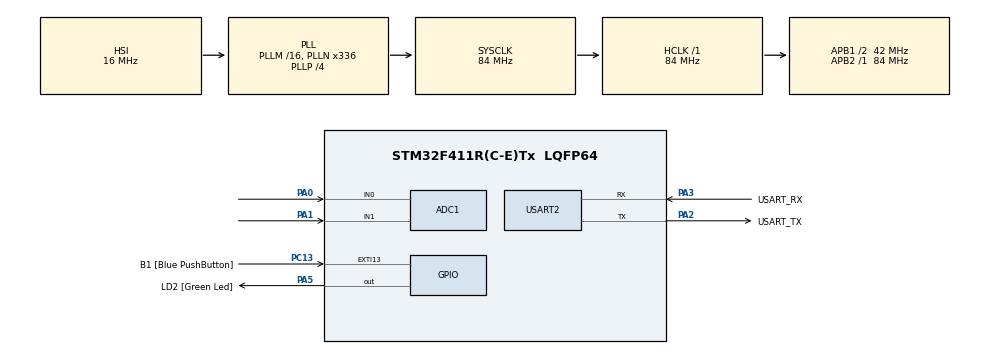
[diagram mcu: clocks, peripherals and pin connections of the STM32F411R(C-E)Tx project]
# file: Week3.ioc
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ADC1.Channel-0\#ChannelRegularConversion=ADC_CHANNEL_0
ADC1.NbrOfConversionFlag=1
ADC1.Rank-0\#ChannelRegularConversion=1
ADC1.SamplingTime-0\#ChannelRegularConversion=ADC_SAMPLETIME_3CYCLES
ADC1.master=1
Mcu.Family=STM32F4
Mcu.Name=STM32F411R(C-E)Tx
Mcu.Package=LQFP64
NVIC.PriorityGroup=NVIC_PRIORITYGROUP_0
PA0-WKUP.Signal=ADCx_IN0
PA1.Signal=ADCx_IN1
PA13.GPIO_Label=TMS
PA13.Mode=Serial_Wire
PA13.Signal=SYS_JTMS-SWDIO
PA14.GPIO_Label=TCK
PA14.Mode=Serial_Wire
PA14.Signal=SYS_JTCK-SWCLK
PA2.GPIO_Label=USART_TX
PA2.Mode=Asynchronous
PA2.Signal=USART2_TX
PA3.GPIO_Label=USART_RX
PA3.Mode=Asynchronous
PA3.Signal=USART2_RX
PA5.GPIO_Label=LD2 [Green Led]
PA5.Signal=GPIO_Output
PB3.GPIO_Label=SWO
PB3.Signal=SYS_JTDO-SWO
PC13-ANTI_TAMP.GPIO_Label=B1 [Blue PushButton]
PC13-ANTI_TAMP.GPIO_ModeDefaultEXTI=GPIO_MODE_IT_FALLING
PC13-ANTI_TAMP.Signal=GPXTI13
PC14-OSC32_IN.Mode=LSE-External-Oscillator
PC14-OSC32_IN.Signal=RCC_OSC32_IN
PC15-OSC32_OUT.Mode=LSE-External-Oscillator
PC15-OSC32_OUT.Signal=RCC_OSC32_OUT
PH0\ -\ OSC_IN.Mode=HSE-External-Clock-Source
PH0\ -\ OSC_IN.Signal=RCC_OSC_IN
PH1\ -\ OSC_OUT.Mode=HSE-External-Clock-Source
PH1\ -\ OSC_OUT.Signal=RCC_OSC_OUT
ProjectManager.HeapSize=0x200
ProjectManager.StackSize=0x400
ProjectManager.TargetToolchain=STM32CubeIDE
RCC.48MHZClocksFreq_Value=84000000
RCC.AHBFreq_Value=84000000
RCC.APB1CLKDivider=RCC_HCLK_DIV2
RCC.APB1Freq_Value=42000000
RCC.APB1TimFreq_Value=84000000
RCC.APB2Freq_Value=84000000
RCC.APB2TimFreq_Value=84000000
RCC.CortexFreq_Value=84000000
RCC.FLatency-AdvancedSettings=FLASH_LATENCY_2
RCC.HCLKFreq_Value=84000000
RCC.HSE_VALUE=8000000
RCC.HSI_VALUE=16000000
RCC.PLLN=336
RCC.PLLP=RCC_PLLP_DIV4
RCC.SYSCLKFreq_VALUE=84000000
RCC.SYSCLKSource=RCC_SYSCLKSOURCE_PLLCLK
RCC.VCOOutputFreq_Value=336000000
SH.ADCx_IN0.0=ADC1_IN0,IN0
SH.ADCx_IN1.0=ADC1_IN1,IN1
USART2.VirtualMode=VM_ASYNC
VP_ADC1_TempSens_Input.Mode=IN-TempSens
board=NUCLEO-F411RE

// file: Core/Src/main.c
/* USER CODE BEGIN Header */
/**
  ******************************************************************************
  * @file           : main.c
  * @brief          : Main program body
  ******************************************************************************
  * @attention
  *
  * <h2><center>&copy; Copyright (c) 2021 STMicroelectronics.
  * All rights reserved.</center></h2>
  *
  * This software component is licensed by ST under BSD 3-Clause license,
  * the "License"; You may not use this file except in compliance with the
  * License. You may obtain a copy of the License at:
  *                        opensource.org/licenses/BSD-3-Clause
  *
  ******************************************************************************
  */
/* USER CODE END Header */
#include "main.h"

ADC_HandleTypeDef hadc1;

UART_HandleTypeDef huart2;

/* USER CODE BEGIN PV */
typedef struct
{
	ADC_ChannelConfTypeDef	Config;
	uint32_t Data;
} ADCStructure;

ADCStructure ADCChannel[2] = { 0 };

int ADCMode = 0;
float ADCOutputConverted = 0;
int V25 = 760; //datasheet
float Avg_slope = 2.5;
float V_Ref = 3.3;
float resolution = 4096;

/* USER CODE END PV */

void SystemClock_Config(void);
static void MX_GPIO_Init(void);
static void MX_USART2_UART_Init(void);
static void MX_ADC1_Init(void);
/* USER CODE BEGIN PFP */
void ADCPollingMethod();
void ADCPollingMethodUpdate();
/* USER CODE END PFP */

int main(void)
{

  /* MCU Configuration--------------------------------------------------------*/

  /* Reset of all peripherals, Initializes the Flash interface and the Systick. */
  HAL_Init();

  /* Configure the system clock */
  SystemClock_Config();

  /* Initialize all configured peripherals */
  MX_GPIO_Init();
  MX_USART2_UART_Init();
  MX_ADC1_Init();
  /* USER CODE BEGIN 2 */
  ADCPollingMethod();
  /* USER CODE END 2 */

  /* Infinite loop */
  while (1)
  {

    /* USER CODE BEGIN 3 */
	ADCPollingMethodUpdate();
  }
  /* USER CODE END 3 */
}

void SystemClock_Config(void)
{
  RCC_OscInitTypeDef RCC_OscInitStruct = {0};
  RCC_ClkInitTypeDef RCC_ClkInitStruct = {0};

  /** Configure the main internal regulator output voltage
  */
  __HAL_RCC_PWR_CLK_ENABLE();
  __HAL_PWR_VOLTAGESCALING_CONFIG(PWR_REGULATOR_VOLTAGE_SCALE1);
  /** Initializes the RCC Oscillators according to the specified parameters
  * in the RCC_OscInitTypeDef structure.
  */
  RCC_OscInitStruct.OscillatorType = RCC_OSCILLATORTYPE_HSI;
  RCC_OscInitStruct.HSIState = RCC_HSI_ON;
  RCC_OscInitStruct.HSICalibrationValue = RCC_HSICALIBRATION_DEFAULT;
  RCC_OscInitStruct.PLL.PLLState = RCC_PLL_ON;
  RCC_OscInitStruct.PLL.PLLSource = RCC_PLLSOURCE_HSI;
  RCC_OscInitStruct.PLL.PLLM = 16;
  RCC_OscInitStruct.PLL.PLLN = 336;
  RCC_OscInitStruct.PLL.PLLP = RCC_PLLP_DIV4;
  RCC_OscInitStruct.PLL.PLLQ = 4;
  if (HAL_RCC_OscConfig(&RCC_OscInitStruct) != HAL_OK)
  {
    Error_Handler();
  }
  /** Initializes the CPU, AHB and APB buses clocks
  */
  RCC_ClkInitStruct.ClockType = RCC_CLOCKTYPE_HCLK|RCC_CLOCKTYPE_SYSCLK
                              |RCC_CLOCKTYPE_PCLK1|RCC_CLOCKTYPE_PCLK2;
  RCC_ClkInitStruct.SYSCLKSource = RCC_SYSCLKSOURCE_PLLCLK;
  RCC_ClkInitStruct.AHBCLKDivider = RCC_SYSCLK_DIV1;
  RCC_ClkInitStruct.APB1CLKDivider = RCC_HCLK_DIV2;
  RCC_ClkInitStruct.APB2CLKDivider = RCC_HCLK_DIV1;

  if (HAL_RCC_ClockConfig(&RCC_ClkInitStruct, FLASH_LATENCY_2) != HAL_OK)
  {
    Error_Handler();
  }
}

static void MX_ADC1_Init(void)
{

  ADC_ChannelConfTypeDef sConfig = {0};

  /** Configure the global features of the ADC (Clock, Resolution, Data Alignment and number of conversion)
  */
  hadc1.Instance = ADC1;
  hadc1.Init.ClockPrescaler = ADC_CLOCK_SYNC_PCLK_DIV4;
  hadc1.Init.Resolution = ADC_RESOLUTION_12B;
  hadc1.Init.ScanConvMode = DISABLE;
  hadc1.Init.ContinuousConvMode = DISABLE;
  hadc1.Init.DiscontinuousConvMode = DISABLE;
  hadc1.Init.ExternalTrigConvEdge = ADC_EXTERNALTRIGCONVEDGE_NONE;
  hadc1.Init.ExternalTrigConv = ADC_SOFTWARE_START;
  hadc1.Init.DataAlign = ADC_DATAALIGN_RIGHT;
  hadc1.Init.NbrOfConversion = 1;
  hadc1.Init.DMAContinuousRequests = DISABLE;
  hadc1.Init.EOCSelection = ADC_EOC_SINGLE_CONV;
  if (HAL_ADC_Init(&hadc1) != HAL_OK)
  {
    Error_Handler();
  }
  /** Configure for the selected ADC regular channel its corresponding rank in the sequencer and its sample time.
  */
  sConfig.Channel = ADC_CHANNEL_0;
  sConfig.Rank = 1;
  sConfig.SamplingTime = ADC_SAMPLETIME_3CYCLES;
  if (HAL_ADC_ConfigChannel(&hadc1, &sConfig) != HAL_OK)
  {
    Error_Handler();
  }

}

static void MX_USART2_UART_Init(void)
{

  huart2.Instance = USART2;
  huart2.Init.BaudRate = 115200;
  huart2.Init.WordLength = UART_WORDLENGTH_8B;
  huart2.Init.StopBits = UART_STOPBITS_1;
  huart2.Init.Parity = UART_PARITY_NONE;
  huart2.Init.Mode = UART_MODE_TX_RX;
  huart2.Init.HwFlowCtl = UART_HWCONTROL_NONE;
  huart2.Init.OverSampling = UART_OVERSAMPLING_16;
  if (HAL_UART_Init(&huart2) != HAL_OK)
  {
    Error_Handler();
  }

}

static void MX_GPIO_Init(void)
{
  GPIO_InitTypeDef GPIO_InitStruct = {0};

  /* GPIO Ports Clock Enable */
  __HAL_RCC_GPIOC_CLK_ENABLE();
  __HAL_RCC_GPIOH_CLK_ENABLE();
  __HAL_RCC_GPIOA_CLK_ENABLE();
  __HAL_RCC_GPIOB_CLK_ENABLE();

  /*Configure GPIO pin Output Level */
  HAL_GPIO_WritePin(LD2_GPIO_Port, LD2_Pin, GPIO_PIN_RESET);

  /*Configure GPIO pin : B1_Pin */
  GPIO_InitStruct.Pin = B1_Pin;
  GPIO_InitStruct.Mode = GPIO_MODE_IT_FALLING;
  GPIO_InitStruct.Pull = GPIO_NOPULL;
  HAL_GPIO_Init(B1_GPIO_Port, &GPIO_InitStruct);

  /*Configure GPIO pin : LD2_Pin */
  GPIO_InitStruct.Pin = LD2_Pin;
  GPIO_InitStruct.Mode = GPIO_MODE_OUTPUT_PP;
  GPIO_InitStruct.Pull = GPIO_NOPULL;
  GPIO_InitStruct.Speed = GPIO_SPEED_FREQ_LOW;
  HAL_GPIO_Init(LD2_GPIO_Port, &GPIO_InitStruct);

}

/* USER CODE BEGIN 4 */

void ADCPollingMethod()
{
	ADCChannel[0].Config.Channel = ADC_CHANNEL_0;
	ADCChannel[0].Config.Rank = 1;
	ADCChannel[0].Config.SamplingTime = ADC_SAMPLETIME_3CYCLES;

	ADCChannel[1].Config.Channel = ADC_CHANNEL_TEMPSENSOR;
	ADCChannel[1].Config.Rank = 1;
	ADCChannel[1].Config.SamplingTime = ADC_SAMPLETIME_3CYCLES;
}

void ADCPollingMethodUpdate()
{
	GPIO_PinState Switch[2];
	Switch[0] = HAL_GPIO_ReadPin(GPIOC, GPIO_PIN_13); //read button
	if(Switch[0] == 0 && Switch[1] == 1)
	{
		if(ADCMode == 1) //PA0
		{
			HAL_ADC_ConfigChannel(&hadc1, &ADCChannel[0].Config);
			HAL_ADC_Start(&hadc1);
			HAL_ADC_PollForConversion(&hadc1, 5);
			ADCChannel[0].Data = HAL_ADC_GetValue(&hadc1);
			HAL_ADC_Stop(&hadc1);

			ADCOutputConverted = ((ADCChannel[0].Data /resolution) * V_Ref)*1000;

//			ADCChannel[1].Data = 0;

			ADCMode = 0;
		}
		else //Temp
		{
			HAL_ADC_ConfigChannel(&hadc1, &ADCChannel[1].Config);
			HAL_ADC_Start(&hadc1);
			HAL_ADC_PollForConversion(&hadc1, 5);
			ADCChannel[1].Data = HAL_ADC_GetValue(&hadc1);
			HAL_ADC_Stop(&hadc1);

			ADCOutputConverted = (((((ADCChannel[1].Data / resolution) * V_Ref)*1000) - V25)/Avg_slope) + 25;

//			ADCChannel[0].Data = 0;

			ADCMode = 1;
		}
	}

	Switch[1] = Switch[0];
}
/* USER CODE END 4 */

void Error_Handler(void)
{
  __disable_irq();
  while (1)
  {
  }
}

/************************ (C) COPYRIGHT STMicroelectronics *****END OF FILE****/
